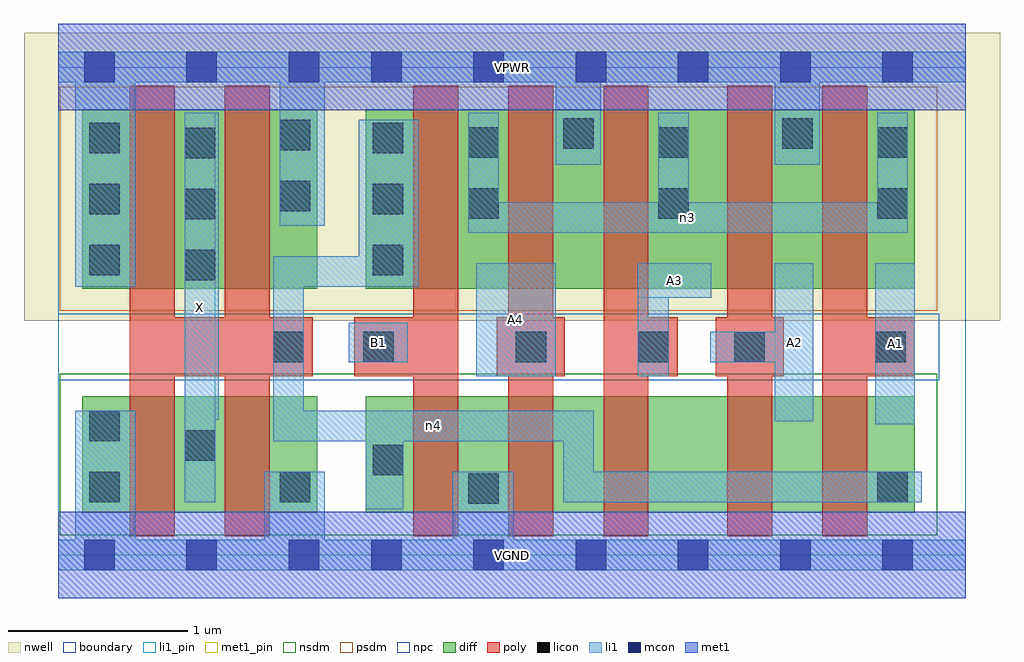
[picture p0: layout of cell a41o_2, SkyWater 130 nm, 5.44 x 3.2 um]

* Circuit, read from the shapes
.subckt a41o_2 A1 A2 A3 A4 B1 VGND VPWR X n3 n4
XM1 X n4 VGND VSUBS sky130_fd_pr__nfet_01v8 w=0.65 l=0.25 m=2
XM2 VGND B1 n4 VSUBS sky130_fd_pr__nfet_01v8 w=0.65 l=0.25
XM3 n1 A4 VGND VSUBS sky130_fd_pr__nfet_01v8 w=0.65 l=0.25
XM4 n2 A3 n1 VSUBS sky130_fd_pr__nfet_01v8 w=0.65 l=0.25
XM5 n5 A2 n2 VSUBS sky130_fd_pr__nfet_01v8 w=0.65 l=0.25
XM6 n4 A1 n5 VSUBS sky130_fd_pr__nfet_01v8 w=0.65 l=0.25
XM7 X n4 VPWR n6 sky130_fd_pr__pfet_01v8 w=1 l=0.25 m=2
XM8 n3 B1 n4 n6 sky130_fd_pr__pfet_01v8 w=1 l=0.25
XM9 VPWR A4 n3 n6 sky130_fd_pr__pfet_01v8 w=1 l=0.25
XM10 n3 A3 VPWR n6 sky130_fd_pr__pfet_01v8 w=1 l=0.25
XM11 VPWR A2 n3 n6 sky130_fd_pr__pfet_01v8 w=1 l=0.25
XM12 n3 A1 VPWR n6 sky130_fd_pr__pfet_01v8 w=1 l=0.25
.ends

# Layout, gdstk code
import gdstk
lib = gdstk.Library(unit=1e-6, precision=1e-09)
def R(c, l, rs):  # rectangles x0, y0, x1, y1
    for r in rs: c.add(gdstk.rectangle(r[:2], r[2:], *l))
def A(c, l, x, y, w, h, nx, ny, dx, dy):  # array of equal rectangles
    R(c, l, [(x+i*dx, y+j*dy, x+i*dx+w, y+j*dy+h) for i in range(nx) for j in range(ny)])
nwell = (64, 20)
diff = (65, 20)
poly = (66, 20)
licon = (66, 44)
li1_pin = (67, 16)
li1 = (67, 20)
mcon = (67, 44)
met1_pin = (68, 16)
met1 = (68, 20)
nsdm = (93, 44)
psdm = (94, 20)
npc = (95, 20)
boundary = (235, 4)

a41o_2 = lib.new_cell('a41o_2')
R(a41o_2, nwell, [(-0.19,1.305,5.25,2.91), (0,1.305,5.06,2.91)])
R(a41o_2, diff, [(0.135,0.235,1.445,0.885), (1.715,0.235,4.775,0.885), (0.135,1.485,1.445,2.485), (1.715,1.485,4.775,2.485)])
A(a41o_2, poly, 1.98, 0.105, 0.25, 2.51, 3, 1, 0.53, 0)
R(a41o_2, poly, [(0.4,0.105,0.65,2.615), (0.93,0.105,1.18,2.615), (3.73,0.105,3.98,2.615), (4.26,0.105,4.51,2.615), (0.4,0.995,1.42,1.325), (1.65,0.995,2.23,1.325), (2.445,0.995,2.825,1.325), (3.04,0.995,3.455,1.325), (3.665,0.995,4.045,1.325), (4.26,0.995,4.775,1.325)])
A(a41o_2, licon, 0.705, 1.53, 0.17, 0.17, 1, 3, 0, 0.34)
A(a41o_2, licon, 0.175, 1.56, 0.17, 0.17, 1, 3, 0, 0.34)
A(a41o_2, licon, 1.755, 1.56, 0.17, 0.17, 1, 3, 0, 0.34)
R(a41o_2, licon, [(2.285,0.285,2.455,0.455), (0.175,0.295,0.345,0.465), (1.235,0.295,1.405,0.465), (4.565,0.295,4.735,0.465), (1.755,0.445,1.925,0.615), (0.705,0.525,0.875,0.695), (0.175,0.635,0.345,0.805), (1.2,1.075,1.37,1.245), (1.7,1.075,1.87,1.245), (2.55,1.075,2.72,1.245), (3.235,1.075,3.405,1.245), (3.77,1.075,3.94,1.245), (4.555,1.075,4.725,1.245), (2.285,1.875,2.455,2.045), (3.345,1.875,3.515,2.045), (4.565,1.875,4.735,2.045), (1.235,1.915,1.405,2.085), (2.285,2.215,2.455,2.385), (3.345,2.215,3.515,2.385), (4.565,2.215,4.735,2.385), (1.235,2.255,1.405,2.425), (2.815,2.265,2.985,2.435), (4.035,2.265,4.205,2.435)])
R(a41o_2, li1_pin, [(0.705,0.295,0.875,2.465), (4.555,0.73,4.775,1.625), (3.995,0.745,4.21,1.625), (2.33,0.995,2.775,1.625), (1.62,1.075,1.95,1.295), (3.23,1.435,3.64,1.625)])
R(a41o_2, li1, [(0,-0.085,5.06,0.085), (0.095,-0.085,0.43,0.805), (1.15,-0.085,1.485,0.465), (2.2,-0.085,2.54,0.465), (1.715,0.255,1.925,0.805), (0.705,0.295,0.875,2.465), (2.815,0.295,4.815,0.465), (2.815,0.295,2.985,0.805), (1.2,0.635,2.985,0.805), (1.2,0.635,1.37,1.665), (4.555,0.73,4.775,1.625), (3.995,0.745,4.21,1.625), (0.705,0.755,0.895,2.465), (2.33,0.995,2.775,1.625), (3.23,0.995,3.405,1.625), (1.62,1.075,1.95,1.295), (3.635,1.075,4.21,1.245), (3.23,1.435,3.64,1.625), (0.095,1.495,0.43,2.805), (1.2,1.495,2.01,1.665), (1.675,1.495,2.01,2.425), (2.285,1.795,4.735,1.965), (2.285,1.795,2.455,2.465), (3.345,1.795,3.515,2.465), (4.565,1.795,4.735,2.465), (1.235,1.835,1.485,2.805), (2.775,2.175,3.025,2.805), (3.995,2.175,4.245,2.805), (0,2.635,5.06,2.805)])
A(a41o_2, mcon, 0.145, -0.085, 0.17, 0.17, 3, 2, 0.57, 2.72)
A(a41o_2, mcon, 1.745, -0.085, 0.17, 0.17, 6, 2, 0.57, 2.72)
R(a41o_2, met1_pin, [(0,-0.24,5.06,0.24), (0,2.48,5.06,2.96)])
R(a41o_2, met1, [(0,-0.24,5.06,0.24), (0,2.48,5.06,2.96)])
R(a41o_2, nsdm, [(0.01,0.11,4.9,1.01)])
R(a41o_2, psdm, [(0.01,1.36,4.9,2.61)])
R(a41o_2, npc, [(0,0.975,4.91,1.345)])
R(a41o_2, boundary, [(0,0,5.06,2.72)])
a41o_2.add(gdstk.Label('A1', (4.665,1.177), layer=67, texttype=5))
a41o_2.add(gdstk.Label('A2', (4.102,1.185), layer=67, texttype=5))
a41o_2.add(gdstk.Label('A3', (3.435,1.53), layer=67, texttype=5))
a41o_2.add(gdstk.Label('A4', (2.552,1.31), layer=67, texttype=5))
a41o_2.add(gdstk.Label('B1', (1.785,1.185), layer=67, texttype=5))
a41o_2.add(gdstk.Label('X', (0.79,1.38), layer=67, texttype=5))
a41o_2.add(gdstk.Label('n4', (2.092,0.72), layer=67, texttype=5))
a41o_2.add(gdstk.Label('n3', (3.51,1.88), layer=67, texttype=5))
a41o_2.add(gdstk.Label('VPWR', (2.53,2.72), layer=68, texttype=5))
a41o_2.add(gdstk.Label('VGND', (2.53,0), layer=68, texttype=5))
a41o_2.add(gdstk.Label('A1', (4.665,1.177), layer=67, texttype=16))
a41o_2.add(gdstk.Label('A2', (4.102,1.185), layer=67, texttype=16))
a41o_2.add(gdstk.Label('A3', (3.435,1.53), layer=67, texttype=16))
a41o_2.add(gdstk.Label('A4', (2.552,1.31), layer=67, texttype=16))
a41o_2.add(gdstk.Label('B1', (1.785,1.185), layer=67, texttype=16))
a41o_2.add(gdstk.Label('X', (0.79,1.38), layer=67, texttype=16))
a41o_2.add(gdstk.Label('VPWR', (2.53,2.72), layer=68, texttype=16))
a41o_2.add(gdstk.Label('VGND', (2.53,0), layer=68, texttype=16))

lib.write_gds('a41o_2.gds')
